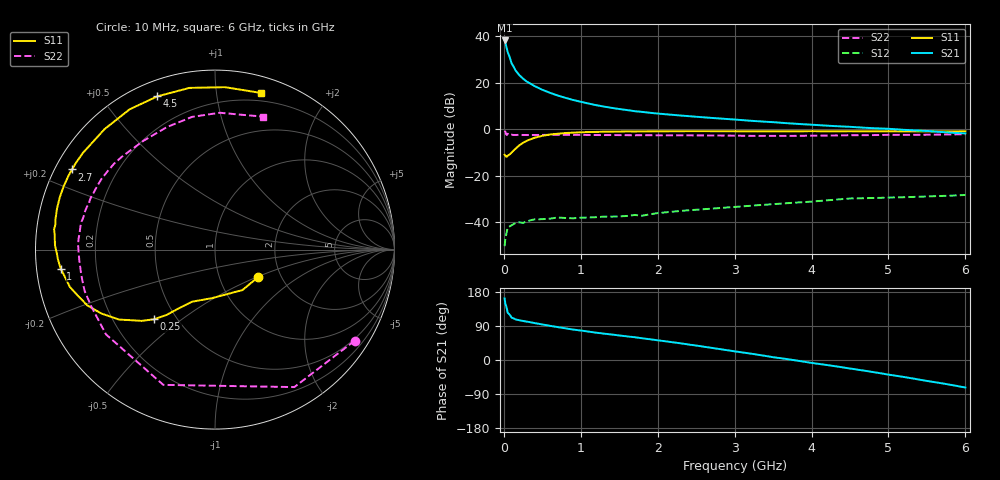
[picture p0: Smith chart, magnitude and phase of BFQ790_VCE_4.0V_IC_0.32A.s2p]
! (c) 2015  Infineon Technologies AG, Munich
! Infineon Technologies  Discrete & RF Semiconductors
! BFQ790
! VCE =  4.0 V,  IC = 0.32 A
! Common Emitter S-Parameters:  May 2015
# GHz  S  MA  R  50
!  f  S11  S21  S12  S22
! GHz  MAG  ANG  MAG  ANG  MAG  ANG  MAG  ANG
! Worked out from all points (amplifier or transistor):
!   77 points, 10 MHz to 6 GHz, reference 50 ohm
!   highest |S21| = 38.2 dB at 10 MHz (marker M1)
!   |S21| within 3 dB of that: start of sweep to 35.02 MHz
!   unconditionally stable (mu >= 1): 200.6 MHz to end of sweep
!   at 130 MHz: K = 0.81, MSG = 33.7 dB, |S12| = -40.6 dB
!   at 2.2 GHz: K = 1.32, MAG = 17.4 dB, |S12| = -35.3 dB
!   at 6 GHz: K = 1.11, MAG = 11.2 dB, |S12| = -28.2 dB
!   S11 on the Smith chart (normalised r, x): 10 MHz: 1.53, -0.51; 250 MHz: 0.38, -0.40; 1 GHz: 0.07, -0.06; 2.7 GHz: 0.05, +0.26; 4.5 GHz: 0.07, +0.69; 6 GHz: 0.13, +1.32
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0.01  0.2848 -32.4  81.32 162.4  0.0031 70.6  0.9291 -33.1
0.02  0.2726 -55.8  71.96 148.1  0.0045 62.1  0.8845 -60.0
0.05  0.2715 -93.9  45.69 124.4  0.0078 34.3  0.8067 -110.9
0.1  0.3166 -113.6  26.37 111.8  0.0087 19.5  0.7694 -142.1
0.15  0.3819 -121.4  18.68 107.3  0.0097 23.3  0.7586 -155.4
0.2  0.4524 -126.5  14.71 104.9  0.0101 20.9  0.7619 -162.4
0.25  0.5148 -131.1  12.28 103.0  0.0098 18.9  0.7589 -167.0
0.3  0.5696 -135.8  10.6 101.2  0.0106 17.3  0.7577 -170.6
0.4  0.6617 -143.9  8.485 97.4  0.0117 17.3  0.7583 -175.5
0.5  0.7269 -150.7  7.088 93.7  0.0118 12.9  0.7604 -179.1
0.7  0.806 -161.4  5.338 86.8  0.0128 16.0  0.7627 175.5
0.9  0.8499 -169.7  4.282 80.4  0.0123 11.7  0.7602 171.8
1  0.8663 -173.0  3.921 77.8  0.0127 11.3  0.7611 169.9
1.1  0.8762 -176.2  3.589 74.9  0.0128 14.8  0.7596 168.2
1.5  0.8967 174.7  2.737 64.8  0.0135 16.5  0.7535 162.4
2.1  0.9104 163.5  2.116 49.4  0.0165 17.2  0.7461 153.6
2.7  0.9131 150.7  1.764 32.1  0.0198 12.3  0.7391 141.9
3.1  0.909 141.6  1.581 20.0  0.0222 8.1  0.729 132.9
4.1  0.9118 119.2  1.231 -10.4  0.029 -6.7  0.7341 109.2
4.5  0.9122 110.6  1.136 -22.5  0.0328 -14.4  0.7504 99.8
5.1  0.9076 96.5  1.003 -41.6  0.0346 -26.8  0.7619 85.9
6  0.9093 73.8  0.82 -72.7  0.039 -48.1  0.7876 70.3
